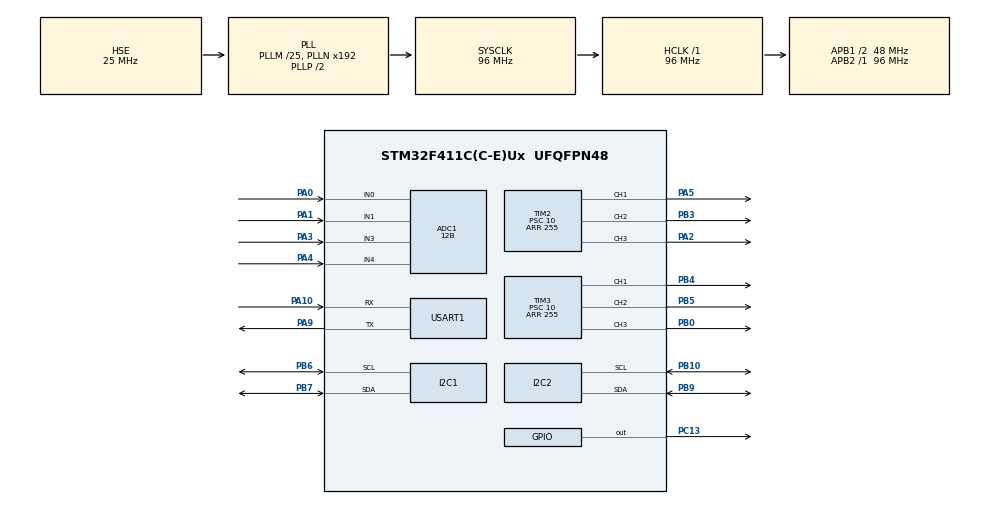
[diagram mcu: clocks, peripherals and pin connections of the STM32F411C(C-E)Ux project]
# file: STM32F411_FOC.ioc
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ADC1.Channel-0\#ChannelRegularConversion=ADC_CHANNEL_0
ADC1.Channel-1\#ChannelRegularConversion=ADC_CHANNEL_1
ADC1.Channel-2\#ChannelRegularConversion=ADC_CHANNEL_3
ADC1.Channel-3\#ChannelRegularConversion=ADC_CHANNEL_4
ADC1.ContinuousConvMode=DISABLE
ADC1.DMAContinuousRequests=DISABLE
ADC1.DiscontinuousConvMode=DISABLE
ADC1.EOCSelection=ADC_EOC_SEQ_CONV
ADC1.NbrOfConversion=4
ADC1.NbrOfConversionFlag=1
ADC1.Rank-0\#ChannelRegularConversion=1
ADC1.Rank-1\#ChannelRegularConversion=2
ADC1.Rank-2\#ChannelRegularConversion=3
ADC1.Rank-3\#ChannelRegularConversion=4
ADC1.Resolution=ADC_RESOLUTION_12B
ADC1.SamplingTime-0\#ChannelRegularConversion=ADC_SAMPLETIME_3CYCLES
ADC1.SamplingTime-1\#ChannelRegularConversion=ADC_SAMPLETIME_3CYCLES
ADC1.SamplingTime-2\#ChannelRegularConversion=ADC_SAMPLETIME_3CYCLES
ADC1.SamplingTime-3\#ChannelRegularConversion=ADC_SAMPLETIME_3CYCLES
ADC1.ScanConvMode=ENABLE
ADC1.master=1
Dma.ADC1.0.Direction=DMA_PERIPH_TO_MEMORY
Dma.ADC1.0.FIFOMode=DMA_FIFOMODE_DISABLE
Dma.ADC1.0.Instance=DMA2_Stream0
Dma.ADC1.0.MemDataAlignment=DMA_MDATAALIGN_HALFWORD
Dma.ADC1.0.MemInc=DMA_MINC_ENABLE
Dma.ADC1.0.Mode=DMA_NORMAL
Dma.ADC1.0.PeriphDataAlignment=DMA_PDATAALIGN_HALFWORD
Dma.ADC1.0.PeriphInc=DMA_PINC_DISABLE
Dma.ADC1.0.Priority=DMA_PRIORITY_HIGH
Dma.I2C1_RX.1.Direction=DMA_PERIPH_TO_MEMORY
Dma.I2C1_RX.1.FIFOMode=DMA_FIFOMODE_DISABLE
Dma.I2C1_RX.1.Instance=DMA1_Stream0
Dma.I2C1_RX.1.MemDataAlignment=DMA_MDATAALIGN_BYTE
Dma.I2C1_RX.1.MemInc=DMA_MINC_ENABLE
Dma.I2C1_RX.1.Mode=DMA_NORMAL
Dma.I2C1_RX.1.PeriphDataAlignment=DMA_PDATAALIGN_BYTE
Dma.I2C1_RX.1.PeriphInc=DMA_PINC_DISABLE
Dma.I2C1_RX.1.Priority=DMA_PRIORITY_LOW
Dma.I2C1_TX.2.Direction=DMA_MEMORY_TO_PERIPH
Dma.I2C1_TX.2.FIFOMode=DMA_FIFOMODE_DISABLE
Dma.I2C1_TX.2.Instance=DMA1_Stream1
Dma.I2C1_TX.2.MemDataAlignment=DMA_MDATAALIGN_BYTE
Dma.I2C1_TX.2.MemInc=DMA_MINC_ENABLE
Dma.I2C1_TX.2.Mode=DMA_NORMAL
Dma.I2C1_TX.2.PeriphDataAlignment=DMA_PDATAALIGN_BYTE
Dma.I2C1_TX.2.PeriphInc=DMA_PINC_DISABLE
Dma.I2C1_TX.2.Priority=DMA_PRIORITY_LOW
Dma.I2C2_RX.3.Direction=DMA_PERIPH_TO_MEMORY
Dma.I2C2_RX.3.FIFOMode=DMA_FIFOMODE_DISABLE
Dma.I2C2_RX.3.Instance=DMA1_Stream2
Dma.I2C2_RX.3.MemDataAlignment=DMA_MDATAALIGN_BYTE
Dma.I2C2_RX.3.MemInc=DMA_MINC_ENABLE
Dma.I2C2_RX.3.Mode=DMA_NORMAL
Dma.I2C2_RX.3.PeriphDataAlignment=DMA_PDATAALIGN_BYTE
Dma.I2C2_RX.3.PeriphInc=DMA_PINC_DISABLE
Dma.I2C2_RX.3.Priority=DMA_PRIORITY_LOW
Dma.I2C2_TX.4.Direction=DMA_MEMORY_TO_PERIPH
Dma.I2C2_TX.4.FIFOMode=DMA_FIFOMODE_DISABLE
Dma.I2C2_TX.4.Instance=DMA1_Stream7
Dma.I2C2_TX.4.MemDataAlignment=DMA_MDATAALIGN_BYTE
Dma.I2C2_TX.4.MemInc=DMA_MINC_ENABLE
Dma.I2C2_TX.4.Mode=DMA_NORMAL
Dma.I2C2_TX.4.PeriphDataAlignment=DMA_PDATAALIGN_BYTE
Dma.I2C2_TX.4.PeriphInc=DMA_PINC_DISABLE
Dma.I2C2_TX.4.Priority=DMA_PRIORITY_LOW
Dma.Request0=ADC1
Dma.Request1=I2C1_RX
Dma.Request2=I2C1_TX
Dma.Request3=I2C2_RX
Dma.Request4=I2C2_TX
Dma.Request5=USART1_RX
Dma.Request6=USART1_TX
Dma.USART1_RX.5.Direction=DMA_PERIPH_TO_MEMORY
Dma.USART1_RX.5.FIFOMode=DMA_FIFOMODE_DISABLE
Dma.USART1_RX.5.Instance=DMA2_Stream2
Dma.USART1_RX.5.MemDataAlignment=DMA_MDATAALIGN_BYTE
Dma.USART1_RX.5.MemInc=DMA_MINC_ENABLE
Dma.USART1_RX.5.Mode=DMA_NORMAL
Dma.USART1_RX.5.PeriphDataAlignment=DMA_PDATAALIGN_BYTE
Dma.USART1_RX.5.PeriphInc=DMA_PINC_DISABLE
Dma.USART1_RX.5.Priority=DMA_PRIORITY_LOW
Dma.USART1_TX.6.Direction=DMA_MEMORY_TO_PERIPH
Dma.USART1_TX.6.FIFOMode=DMA_FIFOMODE_DISABLE
Dma.USART1_TX.6.Instance=DMA2_Stream7
Dma.USART1_TX.6.MemDataAlignment=DMA_MDATAALIGN_BYTE
Dma.USART1_TX.6.MemInc=DMA_MINC_ENABLE
Dma.USART1_TX.6.Mode=DMA_NORMAL
Dma.USART1_TX.6.PeriphDataAlignment=DMA_PDATAALIGN_BYTE
Dma.USART1_TX.6.PeriphInc=DMA_PINC_DISABLE
Dma.USART1_TX.6.Priority=DMA_PRIORITY_LOW
I2C1.I2C_Mode=I2C_Fast
I2C2.I2C_Mode=I2C_Fast
Mcu.Family=STM32F4
Mcu.Name=STM32F411C(C-E)Ux
Mcu.Package=UFQFPN48
NVIC.DMA1_Stream0_IRQn=true\:0\:0\:false\:false\:true\:false\:true\:true
NVIC.DMA1_Stream1_IRQn=true\:0\:0\:false\:false\:true\:false\:true\:true
NVIC.DMA1_Stream2_IRQn=true\:0\:0\:false\:false\:true\:false\:true\:true
NVIC.DMA1_Stream7_IRQn=true\:0\:0\:false\:false\:true\:false\:true\:true
NVIC.DMA2_Stream0_IRQn=true\:0\:0\:false\:false\:true\:false\:true\:true
NVIC.DMA2_Stream2_IRQn=true\:0\:0\:false\:false\:true\:false\:true\:true
NVIC.DMA2_Stream7_IRQn=true\:0\:0\:false\:false\:true\:false\:true\:true
NVIC.PriorityGroup=NVIC_PRIORITYGROUP_4
NVIC.TIM4_IRQn=true\:0\:0\:false\:false\:true\:true\:true\:true
NVIC.USART1_IRQn=true\:0\:0\:false\:false\:true\:true\:true\:true
PA0-WKUP.Signal=ADCx_IN0
PA1.Signal=ADCx_IN1
PA10.Mode=Asynchronous
PA10.Signal=USART1_RX
PA2.Signal=S_TIM2_CH3
PA3.Signal=ADCx_IN3
PA4.Signal=ADCx_IN4
PA5.Signal=S_TIM2_CH1_ETR
PA9.Mode=Asynchronous
PA9.Signal=USART1_TX
PB0.Signal=S_TIM3_CH3
PB10.Mode=I2C
PB10.Signal=I2C2_SCL
PB3.Signal=S_TIM2_CH2
PB4.Signal=S_TIM3_CH1
PB5.Signal=S_TIM3_CH2
PB6.Mode=I2C
PB6.Signal=I2C1_SCL
PB7.Mode=I2C
PB7.Signal=I2C1_SDA
PB9.Mode=I2C
PB9.Signal=I2C2_SDA
PC13-ANTI_TAMP.Signal=GPIO_Output
PH0\ -\ OSC_IN.Mode=HSE-External-Oscillator
PH0\ -\ OSC_IN.Signal=RCC_OSC_IN
PH1\ -\ OSC_OUT.Mode=HSE-External-Oscillator
PH1\ -\ OSC_OUT.Signal=RCC_OSC_OUT
ProjectManager.HeapSize=0x200
ProjectManager.StackSize=0x400
ProjectManager.TargetToolchain=STM32CubeIDE
RCC.48MHZClocksFreq_Value=48000000
RCC.AHBFreq_Value=96000000
RCC.APB1CLKDivider=RCC_HCLK_DIV2
RCC.APB1Freq_Value=48000000
RCC.APB1TimFreq_Value=96000000
RCC.APB2Freq_Value=96000000
RCC.APB2TimFreq_Value=96000000
RCC.CortexFreq_Value=96000000
RCC.HCLKFreq_Value=96000000
RCC.HSE_VALUE=25000000
RCC.HSI_VALUE=16000000
RCC.LSE_VALUE=32768
RCC.PLLM=25
RCC.PLLSourceVirtual=RCC_PLLSOURCE_HSE
RCC.SYSCLKFreq_VALUE=96000000
RCC.SYSCLKSource=RCC_SYSCLKSOURCE_PLLCLK
RCC.VCOOutputFreq_Value=192000000
SH.ADCx_IN0.0=ADC1_IN0,IN0
SH.ADCx_IN1.0=ADC1_IN1,IN1
SH.ADCx_IN3.0=ADC1_IN3,IN3
SH.ADCx_IN4.0=ADC1_IN4,IN4
SH.S_TIM2_CH1_ETR.0=TIM2_CH1,PWM Generation1 CH1
SH.S_TIM2_CH2.0=TIM2_CH2,PWM Generation2 CH2
SH.S_TIM2_CH3.0=TIM2_CH3,PWM Generation3 CH3
SH.S_TIM3_CH1.0=TIM3_CH1,PWM Generation1 CH1
SH.S_TIM3_CH2.0=TIM3_CH2,PWM Generation2 CH2
SH.S_TIM3_CH3.0=TIM3_CH3,PWM Generation3 CH3
TIM2.AutoReloadPreload=TIM_AUTORELOAD_PRELOAD_ENABLE
TIM2.Channel-PWM\ Generation1\ CH1=TIM_CHANNEL_1
TIM2.Channel-PWM\ Generation2\ CH2=TIM_CHANNEL_2
TIM2.Channel-PWM\ Generation3\ CH3=TIM_CHANNEL_3
TIM2.Period=255
TIM2.Prescaler=10
TIM3.AutoReloadPreload=TIM_AUTORELOAD_PRELOAD_ENABLE
TIM3.Channel-PWM\ Generation1\ CH1=TIM_CHANNEL_1
TIM3.Channel-PWM\ Generation2\ CH2=TIM_CHANNEL_2
TIM3.Channel-PWM\ Generation3\ CH3=TIM_CHANNEL_3
TIM3.Period=255
TIM3.Prescaler=10
TIM4.AutoReloadPreload=TIM_AUTORELOAD_PRELOAD_ENABLE
TIM4.Channel-Output\ Compare1\ No\ Output=TIM_CHANNEL_1
TIM4.Period=499
TIM4.Prescaler=95
TIM4.TIM_MasterOutputTrigger=TIM_TRGO_RESET
USART1.VirtualMode=VM_ASYNC
VP_TIM4_VS_no_output1.Mode=Output Compare1 No Output
board=custom

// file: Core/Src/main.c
/* USER CODE BEGIN Header */
/**
  ******************************************************************************
  * @file           : main.c
  * @brief          : Main program body
  ******************************************************************************
  * @attention
  *
  * Copyright (c) 2025 STMicroelectronics.
  * All rights reserved.
  *
  * This software is licensed under terms that can be found in the LICENSE file
  * in the root directory of this software component.
  * If no LICENSE file comes with this software, it is provided AS-IS.
  *
  ******************************************************************************
  */
/* USER CODE END Header */
#include "main.h"

/* USER CODE BEGIN Includes */
#include "foc_core.h"
#include "serial_commander.h"
#include <string.h>
#include "oled.h"

/* USER CODE END Includes */

/* USER CODE BEGIN PD */
#define I2C1_DMA_FLAG 0x01
#define I2C2_DMA_FLAG 0x02
#define ADC_DMA_FLAG 0x04
#define ADC_ENABLED
//#define ADC_ENABLED 1
//#define UART_DEBUG 1
//#define OLED 1
/* USER CODE END PD */

ADC_HandleTypeDef hadc1;
DMA_HandleTypeDef hdma_adc1;

I2C_HandleTypeDef hi2c1;
I2C_HandleTypeDef hi2c2;
DMA_HandleTypeDef hdma_i2c1_rx;
DMA_HandleTypeDef hdma_i2c1_tx;
DMA_HandleTypeDef hdma_i2c2_rx;
DMA_HandleTypeDef hdma_i2c2_tx;

TIM_HandleTypeDef htim2;
TIM_HandleTypeDef htim3;
TIM_HandleTypeDef htim4;

UART_HandleTypeDef huart1;
DMA_HandleTypeDef hdma_usart1_rx;
DMA_HandleTypeDef hdma_usart1_tx;

/* USER CODE BEGIN PV */
uint8_t EVENT_FLAGS = 0;
#ifdef UART_DEBUG
uint8_t UART_Debug_CallbackCounter = 0;
#endif
#ifdef OLED
uint8_t OLED_CallbackCounter = 0;
#endif
uint32_t timestamp;
float freq;

//extern BLDCMotor* BLDCMotorArray[2];
/* USER CODE END PV */

void SystemClock_Config(void);
static void MX_GPIO_Init(void);
static void MX_DMA_Init(void);
static void MX_I2C1_Init(void);
static void MX_TIM2_Init(void);
static void MX_I2C2_Init(void);
static void MX_TIM3_Init(void);
static void MX_USART1_UART_Init(void);
static void MX_ADC1_Init(void);
static void MX_TIM4_Init(void);

int main(void)
{

  /* MCU Configuration--------------------------------------------------------*/

  /* Reset of all peripherals, Initializes the Flash interface and the Systick. */
  HAL_Init();

  /* Configure the system clock */
  SystemClock_Config();

  /* Initialize all configured peripherals */
  MX_GPIO_Init();
  MX_DMA_Init();
  MX_I2C1_Init();
  MX_TIM2_Init();
  MX_I2C2_Init();
  MX_TIM3_Init();
  MX_USART1_UART_Init();
  MX_ADC1_Init();
  MX_TIM4_Init();
  /* USER CODE BEGIN 2 */
  /* Start PWM channels */
  PWM_Start_3_Channel(&htim2);

  /* DWT timer init (for micros) */
  DWT_Init();

  HAL_TIM_Base_Start_IT(&htim4);

  /* Create sensor & motor object */
  AS5600 s1;
  BLDCMotor m1;

  /* Init motor object */
  BLDCMotor_Init(&m1, &htim2, 7);
  LinkSensor(&m1, &s1, &hi2c1);
  CS_Init(&m1);
  m1.supply_voltage = 12;
  m1.voltage_limit = 4;
  m1.sensor_dir = -1;
  m1.pid.kp = 5;
  m1.pid.ki = 200;
  m1.pid.mode = PI;
  //SerialCommander_Init(&huart1);
  /* Start tim4 periodic callback */
  char uart_buff[64];
  uint32_t cnt = 0;
  /* USER CODE END 2 */

  /* Infinite loop */
  /* USER CODE BEGIN WHILE */
  while (1)
  {
	  m1.vars.shaft_angle = AS5600_GetAngle(&s1);
	  m1.dq.Uq = 3;
	  SetTorque(&m1);
	  float current = CS_SetTorque(&m1);
	  SerialCommander_PollCommands();

	  if(cnt >= 100)
	  {
		  cnt = 0;
		  sprintf(uart_buff, "%f\n", current);
		  HAL_UART_Transmit(&huart1, uart_buff, strlen(uart_buff), 100);
	  }
	  else{
		  cnt++;
	  }
    /* USER CODE END WHILE */

  }
}

void SystemClock_Config(void)
{
  RCC_OscInitTypeDef RCC_OscInitStruct = {0};
  RCC_ClkInitTypeDef RCC_ClkInitStruct = {0};

  /** Configure the main internal regulator output voltage
  */
  __HAL_RCC_PWR_CLK_ENABLE();
  __HAL_PWR_VOLTAGESCALING_CONFIG(PWR_REGULATOR_VOLTAGE_SCALE1);

  /** Initializes the RCC Oscillators according to the specified parameters
  * in the RCC_OscInitTypeDef structure.
  */
  RCC_OscInitStruct.OscillatorType = RCC_OSCILLATORTYPE_HSE;
  RCC_OscInitStruct.HSEState = RCC_HSE_ON;
  RCC_OscInitStruct.PLL.PLLState = RCC_PLL_ON;
  RCC_OscInitStruct.PLL.PLLSource = RCC_PLLSOURCE_HSE;
  RCC_OscInitStruct.PLL.PLLM = 25;
  RCC_OscInitStruct.PLL.PLLN = 192;
  RCC_OscInitStruct.PLL.PLLP = RCC_PLLP_DIV2;
  RCC_OscInitStruct.PLL.PLLQ = 4;
  if (HAL_RCC_OscConfig(&RCC_OscInitStruct) != HAL_OK)
  {
    Error_Handler();
  }

  /** Initializes the CPU, AHB and APB buses clocks
  */
  RCC_ClkInitStruct.ClockType = RCC_CLOCKTYPE_HCLK|RCC_CLOCKTYPE_SYSCLK
                              |RCC_CLOCKTYPE_PCLK1|RCC_CLOCKTYPE_PCLK2;
  RCC_ClkInitStruct.SYSCLKSource = RCC_SYSCLKSOURCE_PLLCLK;
  RCC_ClkInitStruct.AHBCLKDivider = RCC_SYSCLK_DIV1;
  RCC_ClkInitStruct.APB1CLKDivider = RCC_HCLK_DIV2;
  RCC_ClkInitStruct.APB2CLKDivider = RCC_HCLK_DIV1;

  if (HAL_RCC_ClockConfig(&RCC_ClkInitStruct, FLASH_LATENCY_3) != HAL_OK)
  {
    Error_Handler();
  }
}

static void MX_ADC1_Init(void)
{

  ADC_ChannelConfTypeDef sConfig = {0};

  /** Configure the global features of the ADC (Clock, Resolution, Data Alignment and number of conversion)
  */
  hadc1.Instance = ADC1;
  hadc1.Init.ClockPrescaler = ADC_CLOCK_SYNC_PCLK_DIV4;
  hadc1.Init.Resolution = ADC_RESOLUTION_12B;
  hadc1.Init.ScanConvMode = ENABLE;
  hadc1.Init.ContinuousConvMode = DISABLE;
  hadc1.Init.DiscontinuousConvMode = DISABLE;
  hadc1.Init.ExternalTrigConvEdge = ADC_EXTERNALTRIGCONVEDGE_NONE;
  hadc1.Init.ExternalTrigConv = ADC_SOFTWARE_START;
  hadc1.Init.DataAlign = ADC_DATAALIGN_RIGHT;
  hadc1.Init.NbrOfConversion = 4;
  hadc1.Init.DMAContinuousRequests = DISABLE;
  hadc1.Init.EOCSelection = ADC_EOC_SEQ_CONV;
  if (HAL_ADC_Init(&hadc1) != HAL_OK)
  {
    Error_Handler();
  }

  /** Configure for the selected ADC regular channel its corresponding rank in the sequencer and its sample time.
  */
  sConfig.Channel = ADC_CHANNEL_0;
  sConfig.Rank = 1;
  sConfig.SamplingTime = ADC_SAMPLETIME_3CYCLES;
  if (HAL_ADC_ConfigChannel(&hadc1, &sConfig) != HAL_OK)
  {
    Error_Handler();
  }

  /** Configure for the selected ADC regular channel its corresponding rank in the sequencer and its sample time.
  */
  sConfig.Channel = ADC_CHANNEL_1;
  sConfig.Rank = 2;
  if (HAL_ADC_ConfigChannel(&hadc1, &sConfig) != HAL_OK)
  {
    Error_Handler();
  }

  /** Configure for the selected ADC regular channel its corresponding rank in the sequencer and its sample time.
  */
  sConfig.Channel = ADC_CHANNEL_3;
  sConfig.Rank = 3;
  if (HAL_ADC_ConfigChannel(&hadc1, &sConfig) != HAL_OK)
  {
    Error_Handler();
  }

  /** Configure for the selected ADC regular channel its corresponding rank in the sequencer and its sample time.
  */
  sConfig.Channel = ADC_CHANNEL_4;
  sConfig.Rank = 4;
  if (HAL_ADC_ConfigChannel(&hadc1, &sConfig) != HAL_OK)
  {
    Error_Handler();
  }

}

static void MX_I2C1_Init(void)
{

  hi2c1.Instance = I2C1;
  hi2c1.Init.ClockSpeed = 400000;
  hi2c1.Init.DutyCycle = I2C_DUTYCYCLE_2;
  hi2c1.Init.OwnAddress1 = 0;
  hi2c1.Init.AddressingMode = I2C_ADDRESSINGMODE_7BIT;
  hi2c1.Init.DualAddressMode = I2C_DUALADDRESS_DISABLE;
  hi2c1.Init.OwnAddress2 = 0;
  hi2c1.Init.GeneralCallMode = I2C_GENERALCALL_DISABLE;
  hi2c1.Init.NoStretchMode = I2C_NOSTRETCH_DISABLE;
  if (HAL_I2C_Init(&hi2c1) != HAL_OK)
  {
    Error_Handler();
  }

}

static void MX_I2C2_Init(void)
{

  hi2c2.Instance = I2C2;
  hi2c2.Init.ClockSpeed = 400000;
  hi2c2.Init.DutyCycle = I2C_DUTYCYCLE_2;
  hi2c2.Init.OwnAddress1 = 0;
  hi2c2.Init.AddressingMode = I2C_ADDRESSINGMODE_7BIT;
  hi2c2.Init.DualAddressMode = I2C_DUALADDRESS_DISABLE;
  hi2c2.Init.OwnAddress2 = 0;
  hi2c2.Init.GeneralCallMode = I2C_GENERALCALL_DISABLE;
  hi2c2.Init.NoStretchMode = I2C_NOSTRETCH_DISABLE;
  if (HAL_I2C_Init(&hi2c2) != HAL_OK)
  {
    Error_Handler();
  }

}

static void MX_TIM2_Init(void)
{

  TIM_MasterConfigTypeDef sMasterConfig = {0};
  TIM_OC_InitTypeDef sConfigOC = {0};

  htim2.Instance = TIM2;
  htim2.Init.Prescaler = 10;
  htim2.Init.CounterMode = TIM_COUNTERMODE_UP;
  htim2.Init.Period = 255;
  htim2.Init.ClockDivision = TIM_CLOCKDIVISION_DIV1;
  htim2.Init.AutoReloadPreload = TIM_AUTORELOAD_PRELOAD_ENABLE;
  if (HAL_TIM_PWM_Init(&htim2) != HAL_OK)
  {
    Error_Handler();
  }
  sMasterConfig.MasterOutputTrigger = TIM_TRGO_RESET;
  sMasterConfig.MasterSlaveMode = TIM_MASTERSLAVEMODE_DISABLE;
  if (HAL_TIMEx_MasterConfigSynchronization(&htim2, &sMasterConfig) != HAL_OK)
  {
    Error_Handler();
  }
  sConfigOC.OCMode = TIM_OCMODE_PWM1;
  sConfigOC.Pulse = 0;
  sConfigOC.OCPolarity = TIM_OCPOLARITY_HIGH;
  sConfigOC.OCFastMode = TIM_OCFAST_DISABLE;
  if (HAL_TIM_PWM_ConfigChannel(&htim2, &sConfigOC, TIM_CHANNEL_1) != HAL_OK)
  {
    Error_Handler();
  }
  if (HAL_TIM_PWM_ConfigChannel(&htim2, &sConfigOC, TIM_CHANNEL_2) != HAL_OK)
  {
    Error_Handler();
  }
  if (HAL_TIM_PWM_ConfigChannel(&htim2, &sConfigOC, TIM_CHANNEL_3) != HAL_OK)
  {
    Error_Handler();
  }
  HAL_TIM_MspPostInit(&htim2);

}

static void MX_TIM3_Init(void)
{

  TIM_MasterConfigTypeDef sMasterConfig = {0};
  TIM_OC_InitTypeDef sConfigOC = {0};

  htim3.Instance = TIM3;
  htim3.Init.Prescaler = 10;
  htim3.Init.CounterMode = TIM_COUNTERMODE_UP;
  htim3.Init.Period = 255;
  htim3.Init.ClockDivision = TIM_CLOCKDIVISION_DIV1;
  htim3.Init.AutoReloadPreload = TIM_AUTORELOAD_PRELOAD_ENABLE;
  if (HAL_TIM_PWM_Init(&htim3) != HAL_OK)
  {
    Error_Handler();
  }
  sMasterConfig.MasterOutputTrigger = TIM_TRGO_RESET;
  sMasterConfig.MasterSlaveMode = TIM_MASTERSLAVEMODE_DISABLE;
  if (HAL_TIMEx_MasterConfigSynchronization(&htim3, &sMasterConfig) != HAL_OK)
  {
    Error_Handler();
  }
  sConfigOC.OCMode = TIM_OCMODE_PWM1;
  sConfigOC.Pulse = 0;
  sConfigOC.OCPolarity = TIM_OCPOLARITY_HIGH;
  sConfigOC.OCFastMode = TIM_OCFAST_DISABLE;
  if (HAL_TIM_PWM_ConfigChannel(&htim3, &sConfigOC, TIM_CHANNEL_1) != HAL_OK)
  {
    Error_Handler();
  }
  if (HAL_TIM_PWM_ConfigChannel(&htim3, &sConfigOC, TIM_CHANNEL_2) != HAL_OK)
  {
    Error_Handler();
  }
  if (HAL_TIM_PWM_ConfigChannel(&htim3, &sConfigOC, TIM_CHANNEL_3) != HAL_OK)
  {
    Error_Handler();
  }
  HAL_TIM_MspPostInit(&htim3);

}

static void MX_TIM4_Init(void)
{

  TIM_MasterConfigTypeDef sMasterConfig = {0};
  TIM_OC_InitTypeDef sConfigOC = {0};

  htim4.Instance = TIM4;
  htim4.Init.Prescaler = 95;
  htim4.Init.CounterMode = TIM_COUNTERMODE_UP;
  htim4.Init.Period = 499;
  htim4.Init.ClockDivision = TIM_CLOCKDIVISION_DIV1;
  htim4.Init.AutoReloadPreload = TIM_AUTORELOAD_PRELOAD_ENABLE;
  if (HAL_TIM_OC_Init(&htim4) != HAL_OK)
  {
    Error_Handler();
  }
  sMasterConfig.MasterOutputTrigger = TIM_TRGO_RESET;
  sMasterConfig.MasterSlaveMode = TIM_MASTERSLAVEMODE_DISABLE;
  if (HAL_TIMEx_MasterConfigSynchronization(&htim4, &sMasterConfig) != HAL_OK)
  {
    Error_Handler();
  }
  sConfigOC.OCMode = TIM_OCMODE_TIMING;
  sConfigOC.Pulse = 0;
  sConfigOC.OCPolarity = TIM_OCPOLARITY_HIGH;
  sConfigOC.OCFastMode = TIM_OCFAST_DISABLE;
  if (HAL_TIM_OC_ConfigChannel(&htim4, &sConfigOC, TIM_CHANNEL_1) != HAL_OK)
  {
    Error_Handler();
  }

}

static void MX_USART1_UART_Init(void)
{

  huart1.Instance = USART1;
  huart1.Init.BaudRate = 115200;
  huart1.Init.WordLength = UART_WORDLENGTH_8B;
  huart1.Init.StopBits = UART_STOPBITS_1;
  huart1.Init.Parity = UART_PARITY_NONE;
  huart1.Init.Mode = UART_MODE_TX_RX;
  huart1.Init.HwFlowCtl = UART_HWCONTROL_NONE;
  huart1.Init.OverSampling = UART_OVERSAMPLING_16;
  if (HAL_UART_Init(&huart1) != HAL_OK)
  {
    Error_Handler();
  }

}

static void MX_DMA_Init(void)
{

  /* DMA controller clock enable */
  __HAL_RCC_DMA2_CLK_ENABLE();
  __HAL_RCC_DMA1_CLK_ENABLE();

  /* DMA interrupt init */
  /* DMA1_Stream0_IRQn interrupt configuration */
  HAL_NVIC_SetPriority(DMA1_Stream0_IRQn, 0, 0);
  HAL_NVIC_EnableIRQ(DMA1_Stream0_IRQn);
  /* DMA1_Stream1_IRQn interrupt configuration */
  HAL_NVIC_SetPriority(DMA1_Stream1_IRQn, 0, 0);
  HAL_NVIC_EnableIRQ(DMA1_Stream1_IRQn);
  /* DMA1_Stream2_IRQn interrupt configuration */
  HAL_NVIC_SetPriority(DMA1_Stream2_IRQn, 0, 0);
  HAL_NVIC_EnableIRQ(DMA1_Stream2_IRQn);
  /* DMA1_Stream7_IRQn interrupt configuration */
  HAL_NVIC_SetPriority(DMA1_Stream7_IRQn, 0, 0);
  HAL_NVIC_EnableIRQ(DMA1_Stream7_IRQn);
  /* DMA2_Stream0_IRQn interrupt configuration */
  HAL_NVIC_SetPriority(DMA2_Stream0_IRQn, 0, 0);
  HAL_NVIC_EnableIRQ(DMA2_Stream0_IRQn);
  /* DMA2_Stream2_IRQn interrupt configuration */
  HAL_NVIC_SetPriority(DMA2_Stream2_IRQn, 0, 0);
  HAL_NVIC_EnableIRQ(DMA2_Stream2_IRQn);
  /* DMA2_Stream7_IRQn interrupt configuration */
  HAL_NVIC_SetPriority(DMA2_Stream7_IRQn, 0, 0);
  HAL_NVIC_EnableIRQ(DMA2_Stream7_IRQn);

}

static void MX_GPIO_Init(void)
{
  GPIO_InitTypeDef GPIO_InitStruct = {0};

  /* GPIO Ports Clock Enable */
  __HAL_RCC_GPIOC_CLK_ENABLE();
  __HAL_RCC_GPIOH_CLK_ENABLE();
  __HAL_RCC_GPIOA_CLK_ENABLE();
  __HAL_RCC_GPIOB_CLK_ENABLE();

  /*Configure GPIO pin Output Level */
  HAL_GPIO_WritePin(GPIOC, GPIO_PIN_13, GPIO_PIN_RESET);

  /*Configure GPIO pin : PC13 */
  GPIO_InitStruct.Pin = GPIO_PIN_13;
  GPIO_InitStruct.Mode = GPIO_MODE_OUTPUT_PP;
  GPIO_InitStruct.Pull = GPIO_NOPULL;
  GPIO_InitStruct.Speed = GPIO_SPEED_FREQ_LOW;
  HAL_GPIO_Init(GPIOC, &GPIO_InitStruct);

}

/* USER CODE BEGIN 4 */

/**
  * @brief  Regular conversion complete callback in non blocking mode
  * @param  hadc pointer to a ADC_HandleTypeDef structure that contains
  *         the configuration information for the specified ADC.
  * @retval None
  */
void HAL_ADC_ConvCpltCallback(ADC_HandleTypeDef *hadc)
{
	/* Set ADC DMA ready flag */
	EVENT_FLAGS |= ADC_DMA_FLAG;
}

/**
  * @brief  Memory Rx Transfer completed callback.
  * @param  hi2c Pointer to a I2C_HandleTypeDef structure that contains
  *                the configuration information for the specified I2C.
  * @retval None
  */
void HAL_I2C_MemRxCpltCallback(I2C_HandleTypeDef *hi2c)
{
	/* Set I2C receive complete flags  */
	if(hi2c->Instance == I2C1)
	{
		EVENT_FLAGS |= I2C1_DMA_FLAG;
	}
	else if(hi2c->Instance == I2C2)
	{
		EVENT_FLAGS |= I2C2_DMA_FLAG;
	}
}

void HAL_TIM_PeriodElapsedCallback(TIM_HandleTypeDef *htim)
{
    if (htim->Instance == TIM4)
    {

    	/* ADC conversion only if ADC enabled */
#ifdef ADC_ENABLED

        if(EVENT_FLAGS & ADC_DMA_FLAG)
        {
        	EVENT_FLAGS &= (~ADC_DMA_FLAG);
        	HAL_ADC_Start_DMA(&hadc1, ADC_buff, 4);
        	BLDC_UpdateMotorADC_DMA();
        }

#endif

        /* Check I2C ch1 data receive complete */
        if(EVENT_FLAGS & I2C1_DMA_FLAG)
        {
        	if(BLDCMotorArray[0] != NULL && BLDCMotorArray[0]->sensor != NULL)
        	{
        		EVENT_FLAGS &= (~I2C1_DMA_FLAG);

        		/* Start new DMA read */
        		AS5600_UpdateAngle_DMA(BLDCMotorArray[0]->sensor);
        	}
        }

        /* Check I2C ch2 data receive complete */
        if(EVENT_FLAGS & I2C2_DMA_FLAG)
        {
             if(BLDCMotorArray[1] != NULL && BLDCMotorArray[1]->sensor != NULL)
             {
            	EVENT_FLAGS &= (~I2C2_DMA_FLAG);

            	/* Start new DMA read */
                AS5600_UpdateAngle_DMA(BLDCMotorArray[1]->sensor);
             }
        }

        /* UART debug, only sends debug metrics every 100 periods (~20hz) */
#ifdef UART_DEBUG

        if(UART_Debug_CallbackCounter >= 100)
        {
        	return;
        }
        else
        {
        	UART_Debug_CallbackCounter++;
        }
#endif

#ifdef OLED

        if(OLED_CallbackCounter >= 100 && (EVENT_FLAGS & I2C2_DMA_FLAG))
        {
        	OLED_CallbackCounter = 0;
        	EVENT_FLAGS &= (~I2C2_DMA_FLAG);
        	OLED_UpdateDMA(BLDCMotorArray);
        }
        else {
        	OLED_CallbackCounter++;
        }
#endif
    }
}
/* USER CODE END 4 */

void Error_Handler(void)
{
  __disable_irq();
  while (1)
  {
  }
}
